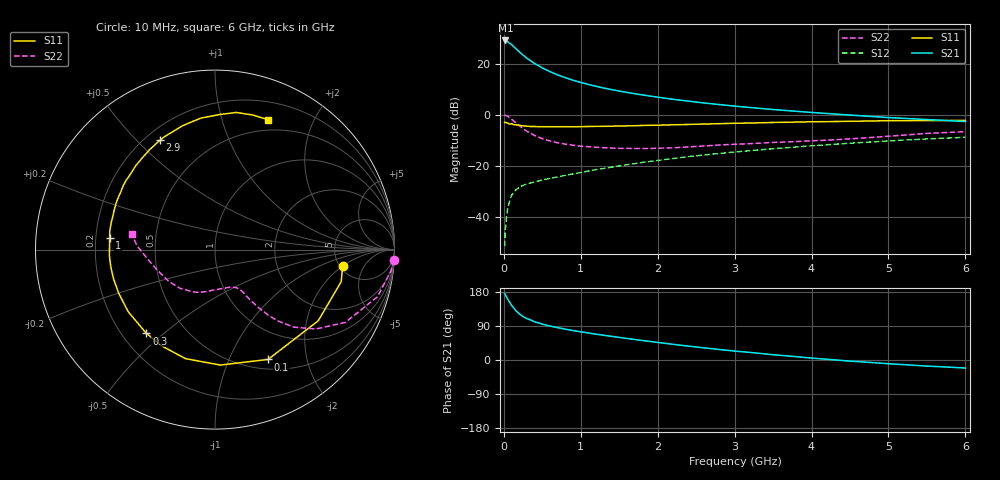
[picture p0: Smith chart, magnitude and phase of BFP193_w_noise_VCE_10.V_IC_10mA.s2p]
! Infineon Technologies  Discrete & RF Semiconductors
! BFP193
! VCE =  10. V,  IC =  10 mA
! Common Emitter S-Parameters:  Jan 2017
# GHz  S  MA  R  50
!  f  S11  S21  S12  S22
! GHz  MAG  ANG  MAG  ANG  MAG  ANG  MAG  ANG
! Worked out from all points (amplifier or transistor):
!   77 points, 10 MHz to 6 GHz, reference 50 ohm
!   highest |S21| = 29.2 dB at 20 MHz (marker M1)
!   |S21| within 3 dB of that: start of sweep to 149.1 MHz
!   unconditionally stable (mu >= 1): 1.184 GHz to 2.56 GHz
!   at 130 MHz: K = 0.23, MSG = 28.5 dB, |S12| = -30.3 dB
!   at 2.2 GHz: K = 1.03, MAG = 10.5 dB, |S12| = -17.1 dB
!   at 6 GHz: K = 0.85, MSG = 3.1 dB, |S12| = -8.7 dB
!   lowest NFmin = 0.87 dB at 450 MHz
!   S11 on the Smith chart (normalised r, x): 10 MHz: 5.31, -1.96; 100 MHz: 0.62, -1.41; 300 MHz: 0.30, -0.44; 1 GHz: 0.26, +0.05; 2.9 GHz: 0.26, +0.59; 6 GHz: 0.38, +1.41
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0.01  0.7165 -7.2  28.63 175.7  0.0027 80.9  0.9966 -3.3
0.02  0.7256 -14.2  28.78 171.9  0.0057 86.8  0.9882 -6.8
0.05  0.6986 -34.6  27.21 160.4  0.0146 73.4  0.9424 -16.2
0.1  0.6795 -64.2  23.99 144.2  0.0266 63.0  0.8319 -29.2
0.15  0.644 -87.3  20.32 131.4  0.0335 53.9  0.7141 -38.3
0.2  0.6294 -105.1  17.3 122.1  0.0383 49.6  0.6178 -44.4
0.25  0.6134 -118.9  14.85 114.6  0.042 45.5  0.5395 -48.1
0.3  0.6035 -129.3  12.89 109.2  0.0445 44.4  0.4786 -50.7
0.4  0.5946 -144.4  10.18 100.8  0.049 43.4  0.3961 -53.4
0.5  0.5892 -155.5  8.325 94.6  0.0532 44.0  0.344 -55.0
0.6  0.5884 -163.9  7.052 89.5  0.0576 44.3  0.3092 -56.0
0.7  0.5885 -170.5  6.091 85.3  0.0612 46.5  0.2846 -56.6
0.9  0.5877 178.4  4.783 77.7  0.0703 49.1  0.2558 -59.0
1  0.5908 173.8  4.335 74.4  0.0748 50.0  0.2448 -60.5
1.1  0.5955 169.6  3.958 71.3  0.08 50.7  0.239 -62.2
1.5  0.6084 154.9  2.937 59.6  0.1008 52.4  0.2222 -71.7
2.1  0.6357 136.2  2.127 43.9  0.1346 51.1  0.2251 -90.9
2.9  0.6817 116.7  1.544 25.7  0.1822 46.3  0.2625 -116.0
3.1  0.6918 112.5  1.446 21.8  0.1941 44.6  0.2705 -121.7
4.1  0.7388 94.6  1.095 3.5  0.2551 35.6  0.3167 -148.8
5.1  0.7734 79.8  0.874 -11.1  0.3162 24.9  0.3933 -175.4
6  0.7814 68.0  0.745 -21.2  0.366 14.6  0.4727 169.4
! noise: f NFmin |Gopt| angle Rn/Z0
0.45  0.87  0.21  156  0.07
0.9  1  0.35  173  0.06
1.9  1.75  0.57  -146  0.13
2.4  2.13  0.63  -128  0.31
